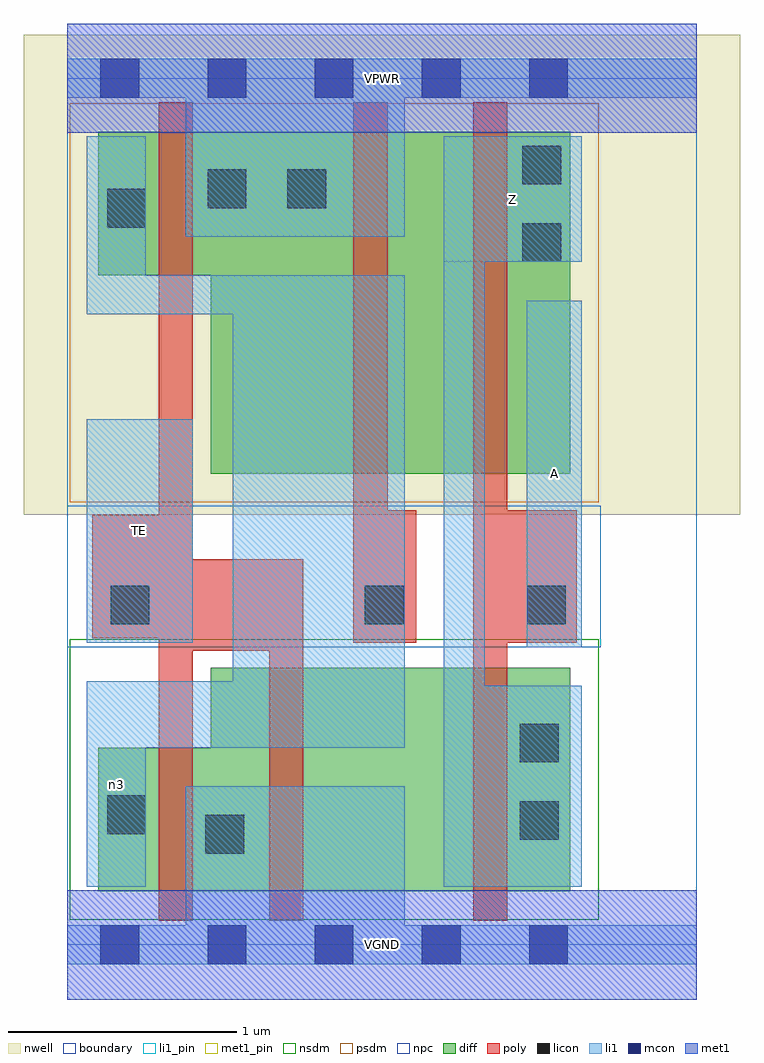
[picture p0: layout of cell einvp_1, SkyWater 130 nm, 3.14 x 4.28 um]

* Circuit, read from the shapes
.subckt einvp_1 A TE VGND VPWR Z n3
XM1 VGND TE n3 VSUBS sky130_fd_pr__nfet_01v8 w=0.63 l=0.15
XM2 n1 TE VGND VSUBS sky130_fd_pr__nfet_01v8 w=0.98 l=0.15
XM3 Z A n1 VSUBS sky130_fd_pr__nfet_01v8 w=0.98 l=0.15
XM4 VPWR TE n3 n2 sky130_fd_pr__pfet_01v8 w=0.63 l=0.15
XM5 n4 n3 VPWR n2 sky130_fd_pr__pfet_01v8 w=1.5 l=0.15
XM6 Z A n4 n2 sky130_fd_pr__pfet_01v8 w=1.5 l=0.15
.ends

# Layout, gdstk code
import gdstk
lib = gdstk.Library(unit=1e-6, precision=1e-09)
def R(c, l, rs):  # rectangles x0, y0, x1, y1
    for r in rs: c.add(gdstk.rectangle(r[:2], r[2:], *l))
def A(c, l, x, y, w, h, nx, ny, dx, dy):  # array of equal rectangles
    R(c, l, [(x+i*dx, y+j*dy, x+i*dx+w, y+j*dy+h) for i in range(nx) for j in range(ny)])
nwell = (64, 20)
diff = (65, 20)
poly = (66, 20)
licon = (66, 44)
li1_pin = (67, 16)
li1 = (67, 20)
mcon = (67, 44)
met1_pin = (68, 16)
met1 = (68, 20)
nsdm = (93, 44)
psdm = (94, 20)
npc = (95, 20)
boundary = (235, 4)

einvp_1 = lib.new_cell('einvp_1')
R(einvp_1, nwell, [(-0.19,1.885,2.95,3.99), (0,1.885,2.76,3.99)])
R(einvp_1, diff, [(0.135,0.235,2.205,0.865), (0.63,0.235,2.205,1.215), (0.63,2.065,2.205,3.565), (0.135,2.935,2.205,3.565)])
R(einvp_1, poly, [(0.4,0.105,0.55,3.695), (0.885,0.105,1.035,1.69), (1.78,0.105,1.93,3.695), (0.4,1.29,1.035,1.69), (1.255,1.325,1.405,3.695), (1.255,1.325,1.53,1.905), (1.78,1.325,2.235,1.905), (0.11,1.345,0.55,1.885)])
R(einvp_1, licon, [(0.605,0.4,0.775,0.57), (1.985,0.46,2.155,0.63), (0.175,0.485,0.345,0.655), (1.985,0.8,2.155,0.97), (0.19,1.405,0.36,1.575), (1.305,1.405,1.475,1.575), (2.015,1.405,2.185,1.575), (1.995,2.995,2.165,3.165), (0.175,3.145,0.345,3.315), (0.615,3.23,0.785,3.4), (0.965,3.23,1.135,3.4), (1.995,3.335,2.165,3.505)])
R(einvp_1, li1_pin, [(2.015,1.305,2.255,2.825), (0.085,1.325,0.55,2.305), (1.65,2.995,2.255,3.545)])
R(einvp_1, li1, [(0,-0.085,2.76,0.085), (0.52,-0.085,1.48,0.695), (0.085,0.255,0.345,1.155), (1.65,0.255,1.83,3.545), (1.65,0.255,2.255,1.135), (0.085,0.865,1.48,1.155), (0.725,0.865,1.48,2.935), (2.015,1.305,2.255,2.825), (0.085,1.325,0.55,2.305), (0.085,2.765,0.345,3.545), (0.085,2.765,1.48,2.935), (1.65,2.995,2.255,3.545), (0.52,3.105,1.48,3.885), (0,3.715,2.76,3.885)])
A(einvp_1, mcon, 0.145, -0.085, 0.17, 0.17, 5, 2, 0.47, 3.8)
R(einvp_1, met1_pin, [(0,-0.24,2.76,0.24), (0,3.56,2.76,4.04)])
R(einvp_1, met1, [(0,-0.24,2.76,0.24), (0,3.56,2.76,4.04)])
R(einvp_1, nsdm, [(0.01,0.11,2.33,1.34)])
R(einvp_1, psdm, [(0.01,1.94,2.33,3.69)])
R(einvp_1, npc, [(0,1.305,2.34,1.925)])
R(einvp_1, boundary, [(0,0,2.76,3.8)])
einvp_1.add(gdstk.Label('A', (2.135,2.065), layer=67, texttype=5))
einvp_1.add(gdstk.Label('TE', (0.317,1.815), layer=67, texttype=5))
einvp_1.add(gdstk.Label('Z', (1.952,3.27), layer=67, texttype=5))
einvp_1.add(gdstk.Label('n3', (0.215,0.705), layer=67, texttype=5))
einvp_1.add(gdstk.Label('VPWR', (1.38,3.8), layer=68, texttype=5))
einvp_1.add(gdstk.Label('VGND', (1.38,0), layer=68, texttype=5))
einvp_1.add(gdstk.Label('A', (2.135,2.065), layer=67, texttype=16))
einvp_1.add(gdstk.Label('TE', (0.317,1.815), layer=67, texttype=16))
einvp_1.add(gdstk.Label('Z', (1.952,3.27), layer=67, texttype=16))
einvp_1.add(gdstk.Label('VPWR', (1.38,3.8), layer=68, texttype=16))
einvp_1.add(gdstk.Label('VGND', (1.38,0), layer=68, texttype=16))

lib.write_gds('einvp_1.gds')
